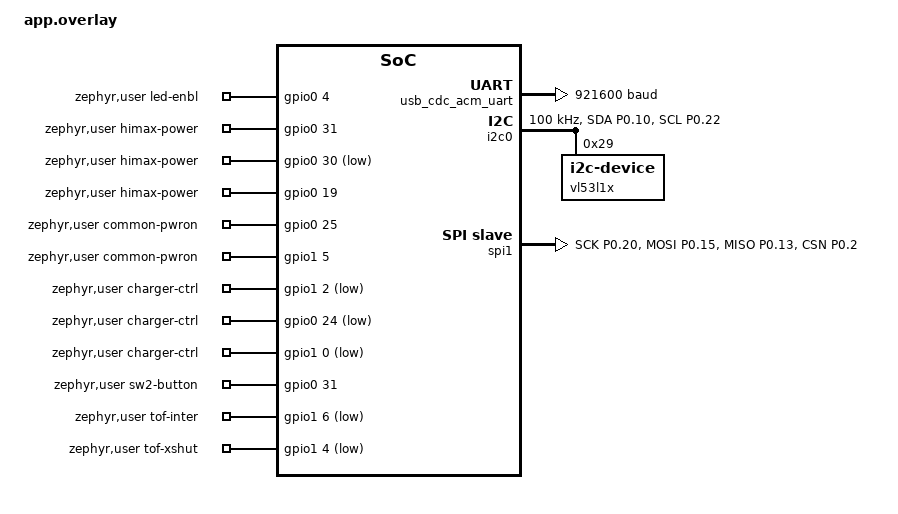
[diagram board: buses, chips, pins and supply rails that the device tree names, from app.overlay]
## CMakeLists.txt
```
cmake_minimum_required(VERSION 3.20.0)

add_definitions(-DNRF_SDK_BUILD)

list(APPEND BOARD_ROOT ${CMAKE_CURRENT_SOURCE_DIR})

set(CONF_FILE prj.conf)
set(DTC_OVERLAY_FILE app.overlay)

find_package(Zephyr REQUIRED HINTS $ENV{ZEPHYR_BASE})
project(yolo_example)

######################### You should to choose appropriate scenario here #########################
#########################       (refer to readme.md file for details)    #########################
## Scenario 1 - external TFT Display is used,nRF does nothing
## Scenario 2 - external TFT display is used, nRF turns on Himax when the TOF sensor is triggered
## Scenario 3 - a smartfon with Bluetooth connection is used,Himax sends data to nRF
add_compile_definitions(APPL_SCENARIO=3)
###################################################################################################

target_include_directories(app PRIVATE
  src/
  src/obj_lists/
  src/cmd_dec/
  src/hm_ctrl
  src/pm_ctrl
  src/tof_sens
)

target_sources(app PRIVATE
  src/obj_lists/objects_validator.c
  src/obj_lists/list_expected_objects.c
  src/obj_lists/list_recognized_objects.c
  src/obj_lists/time_conv.c
  src/obj_lists/crc_proc.c
  src/cmd_dec/common_cmd.c
  src/cmd_dec/himax_cmd.c
  src/cmd_dec/list_expct_obj_cmd.c
  src/cmd_dec/list_recg_obj_cmd.c
  src/cmd_dec/date_time_cmd.c
  src/cmd_dec/tof_sensor_cmd.c
  src/cmd_dec/image_read_cmd.c
  src/cmd_dec/command_decoder.c
  src/hm_ctrl/himax_control.c
  src/hm_ctrl/himax_spi.c
  src/hm_ctrl/himax_spi_data_proc.c
  src/pm_ctrl/pwr_ctrl.c
  src/pm_ctrl/sys_reset.c
  src/tof_sens/tof_sensor_core.c
  src/tof_sens/tof_sensor_results.c
  src/amode_proc.c
  src/detect_handler.c
  src/bt_proc.c
  src/leds_ctrl.c
  src/image_proc.c
  src/acm_uart.c
  src/version.c
  src/main.c
)

zephyr_library_include_directories(.)

set(VL53L1CB_PLAT_DIR ./drivers/VL53L1CB/platform)
set(VL53L1CB_CORE_DIR ./drivers/VL53L1CB/core)

target_include_directories(app PRIVATE 
  ${VL53L1CB_PLAT_DIR}/inc
  ${VL53L1CB_CORE_DIR}/inc
)

target_sources(app PRIVATE
  ${VL53L1CB_PLAT_DIR}/src/vl53l1_platform.c
  ${VL53L1CB_PLAT_DIR}/src/vl53l1_platform_ipp.c
  ${VL53L1CB_CORE_DIR}/src/vl53l1_api.c
  ${VL53L1CB_CORE_DIR}/src/vl53l1_api_calibration.c
  ${VL53L1CB_CORE_DIR}/src/vl53l1_api_core.c
  ${VL53L1CB_CORE_DIR}/src/vl53l1_api_debug.c
  ${VL53L1CB_CORE_DIR}/src/vl53l1_api_preset_modes.c
  ${VL53L1CB_CORE_DIR}/src/vl53l1_api_strings.c
  ${VL53L1CB_CORE_DIR}/src/vl53l1_core.c
  ${VL53L1CB_CORE_DIR}/src/vl53l1_core_support.c
  ${VL53L1CB_CORE_DIR}/src/vl53l1_dmax.c
  ${VL53L1CB_CORE_DIR}/src/vl53l1_error_strings.c
  ${VL53L1CB_CORE_DIR}/src/vl53l1_hist_algos_gen3.c
  ${VL53L1CB_CORE_DIR}/src/vl53l1_hist_algos_gen4.c
  ${VL53L1CB_CORE_DIR}/src/vl53l1_hist_char.c
  ${VL53L1CB_CORE_DIR}/src/vl53l1_hist_core.c
  ${VL53L1CB_CORE_DIR}/src/vl53l1_hist_funcs.c
  ${VL53L1CB_CORE_DIR}/src/vl53l1_nvm.c
  ${VL53L1CB_CORE_DIR}/src/vl53l1_nvm_debug.c
  ${VL53L1CB_CORE_DIR}/src/vl53l1_register_funcs.c
  ${VL53L1CB_CORE_DIR}/src/vl53l1_sigma_estimate.c
  ${VL53L1CB_CORE_DIR}/src/vl53l1_silicon_core.c
  ${VL53L1CB_CORE_DIR}/src/vl53l1_wait.c
  ${VL53L1CB_CORE_DIR}/src/vl53l1_xtalk.c
  ${VL53L1CB_CORE_DIR}/src/vl53l1_zone_presets.c
)
```

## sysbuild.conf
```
# SPDX-License-Identifier: Apache-2.0

# Add MCUboot
SB_CONFIG_BOOTLOADER_MCUBOOT=y
# Set MCUboot mode of operations to single application slot
SB_CONFIG_MCUBOOT_MODE_SINGLE_APP=y
```

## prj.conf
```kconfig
#
# SPDX-License-Identifier: Apache-2.0
#

CONFIG_UART_ASYNC_API=y
CONFIG_HEAP_MEM_POOL_SIZE=4096

CONFIG_BT=y
CONFIG_BT_PERIPHERAL=y
CONFIG_BT_DEVICE_NAME="GrcAllCam"
CONFIG_BT_MAX_CONN=1
CONFIG_BT_MAX_PAIRED=1

CONFIG_BT_NUS=y
CONFIG_BT_SETTINGS=y
CONFIG_FLASH=y
CONFIG_FLASH_PAGE_LAYOUT=y
CONFIG_FLASH_MAP=y
CONFIG_NVS=y
CONFIG_SETTINGS=y

CONFIG_MAIN_STACK_SIZE=1152
CONFIG_SYSTEM_WORKQUEUE_STACK_SIZE=2048

CONFIG_LOG=y
CONFIG_LOG_BUFFER_SIZE=2048
CONFIG_ASSERT=y

CONFIG_BT_USER_DATA_LEN_UPDATE=y
CONFIG_BT_L2CAP_TX_MTU=247
CONFIG_BT_BUF_ACL_TX_SIZE=251
CONFIG_BT_BUF_ACL_RX_SIZE=251
CONFIG_POSIX_CLOCK=y

CONFIG_DATE_TIME_NTP=n
CONFIG_DATE_TIME=y
CONFIG_SPI=y
CONFIG_SPI_SLAVE=y
CONFIG_SPI_ASYNC=y

CONFIG_EVENTS=y

CONFIG_USB_DEVICE_STACK=y

CONFIG_I2C=y
CONFIG_SENSOR=y
CONFIG_VL53L1X=n
CONFIG_LSM6DSL=n

CONFIG_POWEROFF=y
CONFIG_REBOOT=y
CONFIG_BT_SMP=y

CONFIG_LED_STRIP=y
CONFIG_BOOTLOADER_MCUBOOT=y
```

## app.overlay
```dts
/*
 * Copyright (c) 2025 Grovety Inc
 *
 * SPDX-License-Identifier: Apache-2.0
 */

&zephyr_udc0 {
	usb_cdc_acm_uart: cdc_acm_uart {
		compatible = "zephyr,cdc-acm-uart";
		current-speed = <921600>;
	};
};

&spi0 {
	status = "disabled";
};

&pinctrl {
	i2c_tof_default: i2c_tof_default {
		group1 {
			psels = <NRF_PSEL(TWIM_SDA, 0, 10)>, // P0.10
					<NRF_PSEL(TWIM_SCL, 0, 22)>; // P0.22
		};
	};
	i2c_tof_sleep: i2c_tof_sleep {
		group1 {
			psels = <NRF_PSEL(TWIM_SDA, 0, 10)>, // P0.10
					<NRF_PSEL(TWIM_SCL, 0, 22)>; // P0.22
			low-power-enable;
		};
	};
};

&i2c0 {
	compatible = "nordic,nrf-twim";
	status = "okay";
	clock-frequency = <I2C_BITRATE_STANDARD>;
	zephyr,concat-buf-size = <1024>;
	pinctrl-0 = <&i2c_tof_default>;
	pinctrl-1 = <&i2c_tof_sleep>;
	pinctrl-names = "default", "sleep";
	vl53l1x: vl53l1x@29 {
		compatible = "i2c-device";
		status = "okay";
		reg = <0x29>;
	};
};

&pinctrl {
	spi1_default: spi1_default {
		group1 {
			psels = <NRF_PSEL(SPIS_SCK, 0, 20)>,	// P0.20 - SPI_CLK(PB8)
					<NRF_PSEL(SPIS_MOSI, 0, 15)>,	// P0.15 - SPI_DO(PB7)
					<NRF_PSEL(SPIS_MISO, 0, 13)>,	// P0.13 - SPI_DI(PB6)
					<NRF_PSEL(SPIS_CSN, 0, 2)>;		// P0.02 - SEN_CSW0
		};
	};
	spi1_sleep: spi1_sleep {
		group1 {
			psels = <NRF_PSEL(SPIS_SCK, 0, 20)>,
					<NRF_PSEL(SPIS_MOSI, 0, 15)>,
					<NRF_PSEL(SPIS_MISO, 0, 13)>,
					<NRF_PSEL(SPIS_CSN, 0, 2)>;
			low-power-enable;
		};
	};
};

&spi1 {
	compatible = "nordic,nrf-spis";
	def-char = <0xFF>;
	status = "okay";
	pinctrl-0 = <&spi1_default>;
	pinctrl-1 = <&spi1_default>;
	pinctrl-names = "default", "sleep";
};

/ {
	zephyr,user {
		led-enbl-gpios = <&gpio0 4 GPIO_ACTIVE_HIGH>;			// P0.04 - rgb led enable
		himax-power-gpios = <&gpio0 31 GPIO_ACTIVE_HIGH>,		// Wakeup,PA1 Himax,open drain
					        <&gpio0 30 GPIO_ACTIVE_LOW>,		// nReset,no connected
		                    <&gpio0 19 GPIO_ACTIVE_HIGH>; 		// Power on, switch
		common-pwron-gpios = <&gpio0 25 GPIO_ACTIVE_HIGH>,		// U10,3v3,active high
							 <&gpio1 5 GPIO_ACTIVE_HIGH>;		// U12,1v8,active high
		charger-ctrl-gpios = <&gpio1 2 GPIO_ACTIVE_LOW>,		// P1.02 - BQCE,low level enable charger
							 <&gpio0 24 GPIO_ACTIVE_LOW>,		// P0.24 - BQCHG,low level when battery is charging
							 <&gpio1 0 GPIO_ACTIVE_LOW>;		// P1.0 - BQPGOOD,low level when input source is valid
		sw2-button-gpios = <&gpio0 31 GPIO_ACTIVE_HIGH>;		// P0.31 - SW2 button
		tof-inter-gpios = <&gpio1 6 GPIO_ACTIVE_LOW>;			// P1.06
		tof-xshut-gpios = <&gpio1 4 GPIO_ACTIVE_LOW>;			// P1.04
	};
};

/ {
	aliases {
		wake-up-pins-gpios = &gpio1;
	};
};

/ {
	chosen {
		zephyr,console = &uart1;
		cmd,uart = &usb_cdc_acm_uart;
		himax,spi = &spi1;
		tof,vl53l1x = &vl53l1x;
		led,strip = &led_strip;
	};
};
```

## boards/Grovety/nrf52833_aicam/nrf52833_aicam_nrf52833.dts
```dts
/*
 * Copyright (c) 2025 Grovety Inc
 *
 * SPDX-License-Identifier: Apache-2.0
 */

/dts-v1/;
#include <nordic/nrf52833_qiaa.dtsi>
#include <zephyr/dt-bindings/input/input-event-codes.h>

/ {
	model = "Grovety NRF52833 AICAM NRF52833";
	compatible = "nordic,nrf52833-dk-nrf52833";

	chosen {
		zephyr,sram = &sram0;
		zephyr,flash = &flash0_mcuboot;
		zephyr,code-partition = &slot0_partition;
	};
};

&reg1 {
	regulator-initial-mode = <NRF5X_REG_MODE_DCDC>;
};

&adc {
	status = "disabled";
};

&uicr {
	status = "disabled";
};

&gpiote {
	status = "okay";
};

&gpio0 {
	status = "okay";
};

&gpio1 {
	status = "okay";
};

&uart0 {
	status = "disabled";
};

&pinctrl {
	uart1_default: uart1_default {
		group1 {
			psels = <NRF_PSEL(UART_TX, 1, 1)>,
			        <NRF_PSEL(UART_RX, 0, 9)>;
		bias-pull-up;
	  };
	};
	uart1_sleep: uart1_sleep {
	  	group1 {
			psels = <NRF_PSEL(UART_TX, 1, 1)>,
			        <NRF_PSEL(UART_RX, 0, 9)>;
		low-power-enable;
	  	};
	};
};

&uart1 {
	status = "okay";
	current-speed = <115200>;
	pinctrl-0 = <&uart1_default>;
	pinctrl-1 = <&uart1_sleep>;
	pinctrl-names = "default", "sleep";
};

&i2c0 {
	compatible = "nordic,nrf-twi";
	status = "disabled";
};

&i2c1 {
	status = "disabled";
};

&pwm0 {
	status = "disabled";
};

&spi0 {
	status = "disabled";
};

&spi1 {
	status = "disabled";
};

&spi2 {
	status = "disabled";
};

/*flash0_default: &flash0 {
	partitions {
		compatible = "fixed-partitions";
		#address-cells = <1>;
		#size-cells = <1>;

		boot_partition: partition@0 {
			label = "mcuboot";
			reg = <0x00000000 0xC000>;
		};
		slot0_partition: partition@c000 {
			label = "image-0";
			reg = <0x0000C000 0x37000>;
		};
		slot1_partition: partition@43000 {
			label = "image-1";
			reg = <0x00043000 0x37000>;
		};
		storage_partition: partition@7a000 {
			label = "storage";
			reg = <0x0007A000 0x00006000>;
		};
	};
};*/

flash0_mcuboot: &flash0 {
	partitions {
		compatible = "fixed-partitions";
		#address-cells = <1>;
		#size-cells = <1>;

		boot_partition: partition@0 {
			label = "mcuboot";
			reg = <0x00000000 0x10000>;
		};
		slot0_partition: partition@10000 {
			label = "image-0";
			reg = <0x00010000 0x6A000>;
		};
		storage_partition: partition@7a000 {
			label = "storage";
			reg = <0x0007A000 0x00006000>;
		};
	};
};

zephyr_udc0: &usbd {
	compatible = "nordic,nrf-usbd";
	status = "okay";
};

&pinctrl {
	spi2_default: spi2_default {
		group1 {
			psels = <NRF_PSEL(SPIM_SCK, 0, 23)>, 		// dummy
					<NRF_PSEL(SPIM_MOSI, 0, 29)>, 		// stripe
					<NRF_PSEL(SPIM_MISO, 0, 28)>; 		// dummy

		};
	};
	spi2_sleep: spi2_sleep {
		group1 {
			psels = <NRF_PSEL(SPIM_SCK, 0, 23)>,
					<NRF_PSEL(SPIM_MOSI, 0, 29)>,
					<NRF_PSEL(SPIM_MISO, 0, 28)>;
			low-power-enable;
		};
	};
};

#include <zephyr/dt-bindings/led/led.h>

#define SPI_FREQ    4000000
#define ONE_FRAME   0x70
#define ZERO_FRAME  0x40

&spi2 {
	compatible = "nordic,nrf-spim";
	status = "okay";
	pinctrl-0 = <&spi2_default>;
	pinctrl-1 = <&spi2_sleep>;
	pinctrl-names = "default", "sleep";
	led_strip: ws2812@0 {
		compatible = "worldsemi,ws2812-spi";
		/* SPI */
		reg = <0>; /* ignored, but necessary for SPI bindings */
		spi-max-frequency = <SPI_FREQ>;
		/* WS2812 */
		chain-length = <1>; /* arbitrary; change at will */
		color-mapping = <LED_COLOR_ID_GREEN LED_COLOR_ID_RED LED_COLOR_ID_BLUE>;
		spi-one-frame = <ONE_FRAME>;
		spi-zero-frame = <ZERO_FRAME>;
	};
};
```

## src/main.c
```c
/*
 * Copyright (c) 2025 Grovety Inc
 *
 * SPDX-License-Identifier: Apache-2.0
 */

#include <zephyr/types.h>
#include <zephyr/kernel.h>
#include <zephyr/drivers/uart.h>
#include <zephyr/usb/usb_device.h>

#include <zephyr/device.h>
#include <zephyr/devicetree.h>
#include <soc.h>

#include <zephyr/bluetooth/bluetooth.h>
#include <zephyr/bluetooth/uuid.h>
#include <zephyr/bluetooth/gatt.h>
#include <zephyr/bluetooth/hci.h>

#include <bluetooth/services/nus.h>

#include <zephyr/settings/settings.h>
#include <zephyr/logging/log.h>

#include <stdio.h>

#include "amode_proc.h"
#include "leds_ctrl.h"
#include "acm_uart.h"
#include "himax_spi.h"
#include "himax_control.h"
#include "tof_sensor_core.h"
#include "pwr_ctrl.h"
#include "bt_proc.h"
#include "image_proc.h"

#include "version.h"
#include "lists_common_defs.h"
#include "list_expected_objects.h"
#include "list_recognized_objects.h"
#include "command_decoder.h"
#include "himax_spi_data_proc.h"
#include "time_conv.h"

#define LOG_MODULE_NAME objdet_main
LOG_MODULE_REGISTER(LOG_MODULE_NAME);

static void error_handler(int err)
{
	LOG_INF("Error %d", err);
	led_blue_ctrl(20);
	while (1) {
		led_red_ctrl(LED_ON);
		k_sleep(K_MSEC(100));
		led_red_ctrl(LED_OFF);
		k_sleep(K_MSEC(100));
	}
}

void scenario1_init()
{ // only turn on Himax power
	pm_ctrl_init();

	leds_init();

	himax_ctrl_init();

	himax_pwrctl(true);

	led_green_ctrl(50);
}

void scenario2_init()
{ // tof sensor is involved
	int err;

	pm_ctrl_init();

	leds_init();

	himax_ctrl_init();

	err = tof_sensor_init(false);
	if (err) {
		error_handler(err);
	}

	err = amode_proc_init();
	if (err) {
		error_handler(err);
	}

	led_green_ctrl(3);
}

void scenario3_init()
{ // all functional capabilities are involved
	int err;

	pm_ctrl_init();

	leds_init();

	init_time();

	list_expct_objects_init(NULL);
	list_recg_objects_init(NULL);

	err = himax_ctrl_init();
	if (err) {
		error_handler(err);
	}

	err = himax_spis_init(himax_spi_data_proc);
	if (err) {
		error_handler(err);
	}

	command_decoder_init(amode_timer_cmd_recv_notify);

	image_reader_init(amode_image_read_notify);

	err = usb_enable(NULL);
	if (err) {
		error_handler(err);
	}

	err = tof_sensor_init(false);
	if (err) {
		error_handler(err);
	}

	err = amode_proc_init();
	if (err) {
		error_handler(err);
	}

	err = acm_uart_init(command_decoder_run);
	if (err) {
		error_handler(err);
	}

	err = bt_init(command_decoder_run);
	if (err) {
		error_handler(err);
	}
}

int main()
{
#if APPL_SCENARIO == 1
	scenario1_init();
#elif APPL_SCENARIO == 2
	scenario2_init();
#elif APPL_SCENARIO == 3
	scenario3_init();
#else
	#error Scenario must be defined!
#endif
	k_sleep(K_FOREVER);
}
```

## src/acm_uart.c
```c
/*
 * Copyright (c) 2025 Grovety Inc
 *
 * SPDX-License-Identifier: Apache-2.0
 */

#include <zephyr/types.h>
#include <zephyr/kernel.h>
#include <zephyr/init.h>
#include <zephyr/logging/log.h>
#include <zephyr/drivers/uart.h>
#include <zephyr/usb/usb_device.h>

#include "acm_uart.h"
#include "lists_common_defs.h"

#define LOG_MODULE_NAME acm_uart
LOG_MODULE_REGISTER(LOG_MODULE_NAME);

#define ACM_UART_THREAD_STACKSIZE 1024
#define ACM_UART_THREAD_PRIORITY 4

static uart_data_proc_t uart_data_proc;

static void uart_data_handler_thread_proc();

static K_THREAD_DEFINE( uart_data_handler_thread_id, ACM_UART_THREAD_STACKSIZE,  uart_data_handler_thread_proc, NULL, NULL, NULL,
	ACM_UART_THREAD_PRIORITY, 0, 0);
static K_EVENT_DEFINE(rx_ready_event);
static K_EVENT_DEFINE(tx_ready_event);

static const struct device *uart_device = DEVICE_DT_GET(DT_CHOSEN(cmd_uart));

static uart_ctx_t uart_ctx;

static void direct_uart_callback(const struct device *uart_device, void *user_data)
{
	uart_ctx_t* p_uart_ctx = (uart_ctx_t*)user_data;

	uart_irq_update(uart_device);

	if (uart_irq_tx_ready(uart_device)) {
		int nwr = uart_ctx.to_write - uart_ctx.is_written;
		uint8_t* pwr = uart_ctx.tx_buf + uart_ctx.is_written;
		uart_ctx.is_written += uart_fifo_fill(uart_device, pwr, nwr);
		if (uart_ctx.to_write == uart_ctx.is_written) {
			uart_irq_tx_disable(uart_device);
			k_event_set(&tx_ready_event, 1);
		}
	}

	if (uart_irq_rx_ready(uart_device)) {
		uint8_t rx_char = 0;
		while (uart_fifo_read(uart_device, &rx_char, 1)) {
			p_uart_ctx->rx_buf[p_uart_ctx->is_read] = rx_char;
			p_uart_ctx->is_read = (p_uart_ctx->is_read + 1) % SR_OUT_BUF_SIZE;
			if (rx_char == '\n') {
				k_event_set(&rx_ready_event, 1);
				break;
			}
		}
	}
}

void  uart_data_handler_thread_proc()
{
	while (1)
	{
		if (k_event_wait(&rx_ready_event, 1, false, K_FOREVER))
		{
			uart_ctx.rx_buf[uart_ctx.is_read] = 0;
			// LOG_HEXDUMP_INF(uart_ctx.rx_buf, 8, "Rx:");
			uart_ctx.to_write = uart_data_proc(USBUART_INTERFACE, uart_ctx.rx_buf, uart_ctx.is_read, uart_ctx.tx_buf, SR_OUT_BUF_SIZE);
			// LOG_HEXDUMP_INF(uart_ctx.tx_buf, 8, "Tx:");
			uart_ctx.is_read = 0;
			k_event_clear(&rx_ready_event, 1);
			k_event_clear(&tx_ready_event, 1);
			if (uart_ctx.to_write > 0) {
				uart_ctx.is_written = 0;
				uart_irq_tx_enable(uart_device);
				k_event_wait(&tx_ready_event, 1, false, K_FOREVER);
			}
		}
	}
}

int acm_uart_init(uart_data_proc_t proc)
{
	if (!device_is_ready(uart_device)) {
		return -1;
	}
	if (!proc) {
		return -2;
	}
	uart_data_proc = proc;
	uart_irq_rx_disable(uart_device);
	int err = uart_irq_callback_user_data_set(uart_device, direct_uart_callback, &uart_ctx);
	if (err) {
		return err;
	}
	uart_irq_rx_enable(uart_device);
    return 0;
}
```

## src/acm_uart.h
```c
/*
 * Copyright (c) 2025 Grovety Inc
 *
 * SPDX-License-Identifier: Apache-2.0
 */

#ifndef ACM_UART_H
#define ACM_UART_H

#include "bt_proc.h"
#include "command_decoder.h"

#define SR_OUT_BUF_SIZE BT_OUT_BUF_SIZE

typedef struct {
    int is_read;
    uint8_t rx_buf[SR_OUT_BUF_SIZE];
    int to_write;
    int is_written;
    uint8_t tx_buf[SR_OUT_BUF_SIZE];
    bool is_command;
} uart_ctx_t;

typedef int (*uart_data_proc_t)(int if_num, const char* inp_buf, int inp_len, char* out_buf, int out_buf_size);

int acm_uart_init(uart_data_proc_t uart_data_proc);

#endif // ACM_UART_H
```

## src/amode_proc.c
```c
/*
 * Copyright (c) 2025 Grovety Inc
 *
 * SPDX-License-Identifier: Apache-2.0
 */

#include "amode_proc.h"
#include "himax_control.h"
#include "tof_sensor_core.h"
#include "leds_ctrl.h"
#include "pwr_ctrl.h"
#include "detect_handler.h"
#include "mutex_wrapper.h"

#define LOG_MODULE_NAME amode_proc
LOG_MODULE_REGISTER(LOG_MODULE_NAME);

static void amode_timer_handler(struct k_timer *dummy);
static void amode_timer_work_proc(struct k_work *work);

static K_TIMER_DEFINE(amode_timer, amode_timer_handler, NULL);
static K_WORK_DEFINE(amode_timer_work, amode_timer_work_proc);

#define AMODE_THREAD_STACKSIZE 1024
#define AMODE_THREAD_PRIORITY 7

static void amode_thread_proc();

static K_THREAD_DEFINE(amode_thread_id, AMODE_THREAD_STACKSIZE, amode_thread_proc, NULL, NULL, NULL, AMODE_THREAD_PRIORITY, 0, 0);
static K_EVENT_DEFINE(amode_rcgn_start_event);
static K_EVENT_DEFINE(amode_rcgn_finish_event);

K_MUTEX_DEF(amode_setup_mutex)

int amode_proc_init()
{
	K_MUTEX_INIT(amode_setup_mutex)
	return 0;
}

static void amode_setup_for_image_read()
{
	K_MUTEX_LOCK(amode_setup_mutex)
	// LOG_INF("amode_setup_for_image_read %d");
    tof_sensor_set_auto_mode(TOF_MODE_MEAS_DISTANCE_TIMER);
    himax_set_mode(HIMAX_MODE_CONT_WORK, HIMAX_ADV_READ_IMAGE);
	K_MUTEX_UNLOCK(amode_setup_mutex)
}

static void amode_setup_for_recognition()
{
	K_MUTEX_LOCK(amode_setup_mutex)
	// LOG_INF("amode_setup_for_recognition");
	tof_sensor_set_auto_mode(TOF_MODE_DISABLED_WHILE_RECOGN);
	himax_set_mode(HIMAX_MODE_CONT_WORK, HIMAX_ADV_DO_NOTHING);
	K_MUTEX_UNLOCK(amode_setup_mutex)
}

static void amode_setup_for_not_target_waiting()
{
	K_MUTEX_LOCK(amode_setup_mutex)
	himax_set_mode(HIMAX_POFF_MODE, HIMAX_ADV_DO_NOTHING);
	tof_sensor_set_auto_mode(TOF_MODE_AUTO_WAIT_DISAPPERANCE);
	K_MUTEX_UNLOCK(amode_setup_mutex)
}

static void amode_setup_for_is_target_waiting(bool himax_ctrl)
{
	K_MUTEX_LOCK(amode_setup_mutex)
	if (himax_ctrl)
		himax_set_mode(HIMAX_POFF_MODE, HIMAX_ADV_DO_NOTHING);
	tof_sensor_set_auto_mode(TOF_MODE_AUTO_WAIT_FOR_OBJECTS);
	K_MUTEX_UNLOCK(amode_setup_mutex)
}

void amode_image_read_notify(bool start)
{
	k_event_set(&amode_rcgn_start_event, start ? 2 : 4);
}

static unsigned asleep_cntr;

void amode_timer_cmd_recv_notify()
{
	K_MUTEX_LOCK(amode_setup_mutex)
	asleep_cntr = AUTO_MODE_TIMER_ASLEEP_PERIOD_SEC;
	k_timer_start(&amode_timer, K_MSEC(1000), K_MSEC(1000));
	K_MUTEX_UNLOCK(amode_setup_mutex)
}

static void amode_timer_handler(struct k_timer *dummy)
{
	k_work_submit(&amode_timer_work);
}

static void amode_timer_work_proc(struct k_work *work)
{
	K_MUTEX_LOCK(amode_setup_mutex)
	if (asleep_cntr == 1) {
		// LOG_INF("!!!asleep_cntr %d", asleep_cntr);
		k_event_post(&amode_rcgn_start_event, 8);
	}
	if (asleep_cntr > 0) {		
		asleep_cntr -= 1;
	}
	//> LOG_INF("asleep_cntr %d,pwroff_cntr %d", asleep_cntr, pwroff_cntr);
	if (asleep_cntr == 0) {
		k_timer_stop(&amode_timer);
	}
	K_MUTEX_UNLOCK(amode_setup_mutex)
}

void amode_do_recognize()
{
    k_event_set(&amode_rcgn_start_event, 1);
}

static atomic_t recgn_dummy_iter = ATOMIC_INIT(AMODE_MAX_RCGN_DUMMY_ITER);
static atomic_t recgn_found_iter = ATOMIC_INIT(0);

void amode_recognize_results_update(bool found, bool permission)
{
    if (atomic_get(&recgn_dummy_iter) < AMODE_MAX_RCGN_DUMMY_ITER)
    {
        atomic_inc(&recgn_dummy_iter);

        if (permission) {
            atomic_set(&recgn_dummy_iter, AMODE_MAX_RCGN_DUMMY_ITER);
			k_event_set(&amode_rcgn_finish_event, 1);
            detect_handler();
        }
        else {
            if (found) {
                if (atomic_get(&recgn_found_iter) < AMODE_MAX_RCGN_FOUND_ITER) {
                    atomic_inc(&recgn_found_iter);
                }
                else {
                    atomic_set(&recgn_dummy_iter, AMODE_MAX_RCGN_DUMMY_ITER);
					k_event_set(&amode_rcgn_finish_event, 2);
                }
            }
        }
    }
	if (atomic_get(&recgn_dummy_iter) >= AMODE_MAX_RCGN_DUMMY_ITER) {
		k_event_set(&amode_rcgn_finish_event, 4);
	}
	//if (k_event_test(&amode_rcgn_finish_event, 7)) {
    //	LOG_INF("(%d,%d): %ld,%ld", found, permission, atomic_get(&recgn_dummy_iter), atomic_get(&recgn_found_iter));
	//}
}

static void gbox_rcgn_proc()
{
	atomic_set(&recgn_found_iter, 0);
	atomic_set(&recgn_dummy_iter, 0);
	amode_setup_for_recognition();
#if APPL_SCENARIO == 3
	if (k_event_wait(&amode_rcgn_finish_event, 0x07, true, K_MSEC(AMODE_RECGN_TOUT_MSEC)) == 0) {
		LOG_ERR("Recognition timeout");
	}
#elif APPL_SCENARIO == 2
	k_sleep(K_MSEC(5000));
#endif
}

static void amode_thread_proc()
{
	typedef enum {WAIT_FOR_RCGN = 0, WAIT_FOR_DISA, READ_JPG_PICT} amode_state_t;
	amode_state_t state = WAIT_FOR_RCGN;
	uint32_t event;

    while (1)
    {
		k_timeout_t tout = state == WAIT_FOR_DISA ? K_MSEC(1000) : K_FOREVER;
		event = k_event_wait(&amode_rcgn_start_event, 0xf, false, tout);

		// LOG_INF("state %d, event %08x", state, event);

		if (event & 2) {
			k_event_clear(&amode_rcgn_start_event, 0xf);
			amode_setup_for_image_read();
			state = READ_JPG_PICT;
		}
		else if (event & 8) {
			if (state == READ_JPG_PICT) {
				k_event_clear(&amode_rcgn_start_event, 8);
				amode_setup_for_is_target_waiting(true);
				state = WAIT_FOR_RCGN;
			}
		}

		if (state == WAIT_FOR_RCGN) {
			if (event & 1) {
				k_event_clear(&amode_rcgn_start_event, 1);
				gbox_rcgn_proc();
				amode_setup_for_not_target_waiting();
				state = WAIT_FOR_DISA;
			}
		}
		else if (state == WAIT_FOR_DISA) {
			if (event == 0) {
				amode_setup_for_is_target_waiting(false);
				state = WAIT_FOR_RCGN;
			}
			else if (event & 1) {
// #define STRESS_TEST
#ifdef STRESS_TEST
				static unsigned cnt = 0;
				if (++cnt >= 5) {
					cnt = 0;
					k_event_clear(&amode_rcgn_start_event, 1);
					amode_setup_for_is_target_waiting(false);
					state = WAIT_FOR_RCGN;
				}
				else
#endif // STRESS_TEST
				{
					k_event_clear(&amode_rcgn_start_event, 1);
					amode_setup_for_not_target_waiting();
				}
			}
		}
	}
}
```

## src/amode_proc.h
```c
/*
 * Copyright (c) 2025 Grovety Inc
 *
 * SPDX-License-Identifier: Apache-2.0
 */

#ifndef AMODE_PROC_H
#define AMODE_PROC_H

#include <zephyr/kernel.h>
#include <zephyr/init.h>
#include <zephyr/logging/log.h>
#include <nrfx_timer.h>

#define AMODE_MAX_RCGN_DUMMY_ITER 5
#define AMODE_MAX_RCGN_FOUND_ITER 3
#define AMODE_RECGN_TOUT_MSEC 3000

#define AUTO_MODE_NRF_SYS_PWR_OFF
#define AUTO_MODE_TIMER_ASLEEP_PERIOD_SEC 8
#define AUTO_MODE_TIMER_PWROFF_PERIOD_SEC 8

int amode_proc_init();

void amode_timer_cmd_recv_notify();

void amode_image_read_notify(bool start);

void amode_recognize_results_update(bool found, bool permission);

void amode_do_recognize();

#endif // AMODE_PROC_H
```

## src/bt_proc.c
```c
/*
 * Copyright (c) 2025 Grovety Inc
 *
 * SPDX-License-Identifier: Apache-2.0
 */

#include "bt_proc.h"

#include <zephyr/types.h>
#include <zephyr/kernel.h>
#include <zephyr/drivers/uart.h>
#include <zephyr/usb/usb_device.h>

#include <zephyr/device.h>
#include <zephyr/devicetree.h>
#include <soc.h>

#include <zephyr/bluetooth/bluetooth.h>
#include <zephyr/bluetooth/uuid.h>
#include <zephyr/bluetooth/gatt.h>
#include <zephyr/bluetooth/hci.h>
#include <zephyr/settings/settings.h>
#include <zephyr/logging/log.h>
#include <bluetooth/services/nus.h>

#include "lists_common_defs.h"
#include "himax_control.h"

#define LOG_MODULE_NAME bt_proc
LOG_MODULE_REGISTER(LOG_MODULE_NAME);

#define DEVICE_NAME CONFIG_BT_DEVICE_NAME
#define DEVICE_NAME_LEN	(sizeof(DEVICE_NAME) - 1)

static struct bt_conn *current_conn;
static struct bt_conn *auth_conn;

struct k_mutex send_mutex;
static bt_data_proc_t bt_data_proc;

static const struct bt_data ad[] = {
	BT_DATA_BYTES(BT_DATA_FLAGS, (BT_LE_AD_GENERAL | BT_LE_AD_NO_BREDR)),
	BT_DATA(BT_DATA_NAME_COMPLETE, DEVICE_NAME, DEVICE_NAME_LEN),
};

static const struct bt_data sd[] = {
	BT_DATA_BYTES(BT_DATA_UUID128_ALL, BT_UUID_NUS_VAL),
};

static void connected(struct bt_conn *conn, uint8_t err)
{
	char addr[BT_ADDR_LE_STR_LEN];

	if (err) {
		LOG_ERR("Connection failed (err %u)", err);
		return;
	}

	bt_addr_le_to_str(bt_conn_get_dst(conn), addr, sizeof(addr));
	LOG_INF("Connected %s", addr);

	current_conn = bt_conn_ref(conn);
}

static void disconnected(struct bt_conn *conn, uint8_t reason)
{
	char addr[BT_ADDR_LE_STR_LEN];

	bt_addr_le_to_str(bt_conn_get_dst(conn), addr, sizeof(addr));

	LOG_INF("Disconnected: %s (reason %u)", addr, reason);

	if (auth_conn) {
		bt_conn_unref(auth_conn);
		auth_conn = NULL;
	}

	if (current_conn) {
		bt_conn_unref(current_conn);
		current_conn = NULL;
	}
}

static void security_changed(struct bt_conn *conn, bt_security_t level,
			     enum bt_security_err err)
{
	char addr[BT_ADDR_LE_STR_LEN];

	bt_addr_le_to_str(bt_conn_get_dst(conn), addr, sizeof(addr));

	if (!err) {
		LOG_INF("Security changed: %s level %u", addr, level);
	} else {
		LOG_WRN("Security failed: %s level %u err %d", addr,
			level, err);
	}
}

BT_CONN_CB_DEFINE(conn_callbacks) = {
	.connected    = connected,
	.disconnected = disconnected,
	.security_changed = security_changed,
};

static void auth_passkey_display(struct bt_conn *conn, unsigned int passkey)
{
	char addr[BT_ADDR_LE_STR_LEN];

	bt_addr_le_to_str(bt_conn_get_dst(conn), addr, sizeof(addr));

	LOG_INF("Passkey for %s: %06u", addr, passkey);
}

static void auth_passkey_confirm(struct bt_conn *conn, unsigned int passkey)
{
	char addr[BT_ADDR_LE_STR_LEN];

	auth_conn = bt_conn_ref(conn);

	bt_addr_le_to_str(bt_conn_get_dst(conn), addr, sizeof(addr));

	// a simple authorization procedure can be added here..
	// LOG_INF("Passkey for %s: %06u", addr, passkey);
	// LOG_INF("Press Button to confirm");
	bt_conn_auth_passkey_confirm(auth_conn);
}

static void auth_cancel(struct bt_conn *conn)
{
	char addr[BT_ADDR_LE_STR_LEN];

	bt_addr_le_to_str(bt_conn_get_dst(conn), addr, sizeof(addr));

	//// LOG_INF("Pairing cancelled: %s", addr);
}

static void pairing_complete(struct bt_conn *conn, bool bonded)
{
	char addr[BT_ADDR_LE_STR_LEN];

	bt_addr_le_to_str(bt_conn_get_dst(conn), addr, sizeof(addr));

	//// LOG_INF("Pairing completed: %s, bonded: %d", addr, bonded);
}

static void pairing_failed(struct bt_conn *conn, enum bt_security_err reason)
{
	char addr[BT_ADDR_LE_STR_LEN];

	bt_addr_le_to_str(bt_conn_get_dst(conn), addr, sizeof(addr));

	//// LOG_INF("Pairing failed conn: %s, reason %d", addr, reason);
}

static struct bt_conn_auth_cb conn_auth_callbacks = {
	.passkey_display = auth_passkey_display,
	.passkey_confirm = auth_passkey_confirm,
	.cancel = auth_cancel,
};

static struct bt_conn_auth_info_cb conn_auth_info_callbacks = {
	.pairing_complete = pairing_complete,
	.pairing_failed = pairing_failed
};

static int bt_send_prot(struct bt_conn *conn, const uint8_t *data, uint16_t len)
{
	k_mutex_lock(&send_mutex, K_FOREVER);
	int err = bt_nus_send(conn, data, len);
	if (err) {
		LOG_ERR("bt_nus_send");
	}
	k_mutex_unlock(&send_mutex);
	return err;
}

static void bt_receive_cb(struct bt_conn *conn, const uint8_t *const inp_data,
			  uint16_t inp_len)
{
	int err = 0;
	char addr[BT_ADDR_LE_STR_LEN] = {0};

	bt_addr_le_to_str(bt_conn_get_dst(conn), addr, ARRAY_SIZE(addr));

	//// LOG_INF("Maximal MTU length %d", bt_gatt_get_mtu(conn));

	static uint8_t out_data [BT_OUT_BUF_SIZE];
	// LOG_HEXDUMP_INF(inp_data, 8, "Rx:");
	int out_len = bt_data_proc(BLUETOOTH_INTERFACE, inp_data, inp_len, out_data, BT_OUT_BUF_SIZE);
	// LOG_HEXDUMP_INF(out_data, 8, "Tx:");
	if (out_len > 0) {
		err = bt_send_prot(conn, out_data, out_len);
	}

	if (err) {
		LOG_ERR("Cannot send data (err: %d)", err);
	}
}

void bt_sent_cb(struct bt_conn *conn)
{
	char addr[BT_ADDR_LE_STR_LEN] = {0};

	bt_addr_le_to_str(bt_conn_get_dst(conn), addr, ARRAY_SIZE(addr));

	//// LOG_INF("Transmitted data sent to: %s", addr);
}

static struct bt_nus_cb nus_cb = {
	.received = bt_receive_cb,
	.sent = bt_sent_cb
};

int bt_init(bt_data_proc_t proc)
{
    int err;

    bt_data_proc = proc;

    err = bt_conn_auth_cb_register(&conn_auth_callbacks);
	if (err) {
		printk("Failed to register authorization callbacks.\n");
		return err;
	}

	err = bt_conn_auth_info_cb_register(&conn_auth_info_callbacks);
	if (err) {
		printk("Failed to register authorization info callbacks.\n");
		return err;
	}

	err = bt_enable(NULL);
	if (err) {
		printk("Bluetooth enable failed.\n");
		return err;
	}

	LOG_INF("Bluetooth initialized");

	if (IS_ENABLED(CONFIG_SETTINGS)) {
		settings_load();
	}

	err = bt_nus_init(&nus_cb);
	if (err) {
		LOG_ERR("Failed to initialize UART service (err: %d)", err);
		return err;
	}

	err = bt_le_adv_start(BT_LE_ADV_CONN, ad, ARRAY_SIZE(ad), sd,
			      ARRAY_SIZE(sd));
	if (err) {
		LOG_ERR("Advertising failed to start (err %d)", err);
		return err;
	}

    return 0;
}
```

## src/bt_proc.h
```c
/*
 * Copyright (c) 2025 Grovety Inc
 *
 * SPDX-License-Identifier: Apache-2.0
 */

#ifndef BT_PROC_H
#define BT_PROC_H

#define BT_OUT_BUF_SIZE (247-3) // set to MTU size

typedef int (*bt_data_proc_t)(int if_num, const char* inp_buf, int inp_len, char* out_buf, int out_buf_size);

int bt_init(bt_data_proc_t proc);

#endif // BT_PROC_H
```

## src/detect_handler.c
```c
/*
 * Copyright (c) 2025 Grovety Inc
 *
 * SPDX-License-Identifier: Apache-2.0
 */

#include <zephyr/types.h>
#include <zephyr/kernel.h>
#include <zephyr/logging/log.h>
#include <zephyr/drivers/gpio.h>

#include "detect_handler.h"
#include "leds_ctrl.h"

#define LOG_MODULE_NAME detect_handler
LOG_MODULE_REGISTER(LOG_MODULE_NAME);

#define DETECT_HANDLER_THREAD_STACKSIZE 512
#define DETECT_HANDLER_THREAD_PRIORITY 7

static void detect_handler_thread_proc();

static K_THREAD_DEFINE(detect_handler_thread_id, DETECT_HANDLER_THREAD_STACKSIZE, detect_handler_thread_proc, NULL, NULL, NULL,
		DETECT_HANDLER_THREAD_PRIORITY, 0, 0);
static K_EVENT_DEFINE(detect_handler_start_event);

static void detect_handler_thread_proc()
{
    while (1) {
        if (k_event_wait(&detect_handler_start_event, 1, true, K_FOREVER)) {
            LOG_INF("!!!! EXPECTED OBJECT DETECTED !!!!");
            for (unsigned i = 0; i < 10; i++) {
                led_green_ctrl((i & 1) ? LED_OFF : LED_ON);
                k_sleep(K_MSEC(300));
            }
        }
    }
}

void detect_handler()
{
    k_event_set(&detect_handler_start_event, 1);
}
```

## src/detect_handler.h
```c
/*
 * Copyright (c) 2025 Grovety Inc
 *
 * SPDX-License-Identifier: Apache-2.0
 */

#ifndef DETECT_HANDLER_H
#define DETECT_HANDLER_H

void detect_handler();

#endif // DETECT_HANDLER_H
```

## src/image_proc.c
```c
/*
 * Copyright (c) 2025 Grovety Inc
 *
 * SPDX-License-Identifier: Apache-2.0
 */

#include <zephyr/types.h>
#include <zephyr/kernel.h>
#include <zephyr/logging/log.h>

#include "himax_control.h"
#include "image_proc.h"

#define LOG_MODULE_NAME image_proc
LOG_MODULE_REGISTER(LOG_MODULE_NAME);

static struct {
    uint8_t data[IMAGE_MAX_SIZE];
    bool rd_busy;
    unsigned rd_cnt;
    unsigned wr_cnt;
} image_ctx = {{0}, false, 0, 0};

static struct k_event image_udate_event;

static image_control_proc_t image_control_proc;

static int image_read(char* buf, bool first)
{
    int ret;

    if (k_event_wait(&image_udate_event, 1, false, K_MSEC(IMAGE_READ_TIMEOUT_MS)) == 0) {
        strcpy(buf, "NRDY\n");
        ret = 5;
        goto exit;
    }

    if (first) {
        image_ctx.rd_busy = true;
        image_ctx.rd_cnt = 0;
    }

    if (image_ctx.rd_busy == false) {
        strcpy(buf, "BSEQ\n");
        ret = 5;
        goto exit;
    }

    if (image_ctx.wr_cnt <= image_ctx.rd_cnt) {
        strcpy(buf, "RERR\n");
        ret = 5;
        goto exit;
    }

    unsigned rest_size = image_ctx.wr_cnt - image_ctx.rd_cnt;
    unsigned copy_size;

    if (rest_size > IMAGE_READ_CHUNK_SIZE) {
        sprintf(buf, "#%03d", IMAGE_READ_CHUNK_SIZE);
        copy_size = IMAGE_READ_CHUNK_SIZE;
    }
    else {
        sprintf(buf, "!%03d", rest_size);
        copy_size = rest_size;
    }
    memcpy(buf + IMAGE_READ_HEADER_LEN, image_ctx.data + image_ctx.rd_cnt, copy_size);
    image_ctx.rd_cnt += copy_size;

    if (image_ctx.rd_cnt >= image_ctx.wr_cnt) {
        image_ctx.rd_busy = false;
        k_event_clear(&image_udate_event, 1);
    }

    ret = IMAGE_READ_HEADER_LEN + copy_size;

    LOG_INF("image_read %d-%d", image_ctx.wr_cnt, image_ctx.rd_cnt);

exit:

    return ret;
}

int image_read_first(char* buf)
{
    int ret = image_read(buf, true);
    return ret;
}

int image_read_next(char* buf)
{
    int ret = image_read(buf, false);
    return ret;
}

bool image_take_one()
{
    static unsigned req_num;
    LOG_WRN("image_take_one #%d", ++req_num);

    k_event_clear(&image_udate_event, 1);

    if (image_control_proc) {
        image_control_proc(true);
    }

    k_sleep(K_MSEC(100));

    return true;
}

bool image_update(char* buf, uint16_t prm)
{
    bool ret = true;
    static unsigned prev_idx;
    static unsigned idx_mask;

    unsigned last = SPI_JPG_LAST(prm);
    unsigned index = SPI_JPG_INDX(prm);
    unsigned size = SPI_JPG_SIZE(prm);

    if (k_event_test(&image_udate_event, 1)) {
        return true;
    }

    LOG_WRN("image_update %d,%d,%d", index, size, last);

    if (index == 0) {
        image_ctx.wr_cnt = 0;
        idx_mask = 1;
    }
    else {
        if (index != prev_idx + 1) {
            idx_mask = 0;
            ret = false;
            goto exit;
        }
        else {
            idx_mask |= (1 << index);
        }
    }
    prev_idx = index;

    if (image_ctx.wr_cnt + size > IMAGE_MAX_SIZE) {
        idx_mask = 0;
        ret = false;
        goto exit;
    }

    memcpy(image_ctx.data + image_ctx.wr_cnt, buf, size);
    image_ctx.wr_cnt += size;

    if (last) {
        if (idx_mask == ((1 << (index + 1)) - 1)) {
            k_event_set(&image_udate_event, 1);
            //if (image_control_proc) {
            //    image_control_proc(false);
            //}
        }
        else {
            ret = false;
        }
        idx_mask = 0;
    }

exit:

    return ret;
}

void image_reader_init(image_control_proc_t proc)
{
    image_control_proc = proc;
    k_event_init(&image_udate_event);
}
```

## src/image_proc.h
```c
/*
 * Copyright (c) 2025 Grovety Inc
 *
 * SPDX-License-Identifier: Apache-2.0
 */

#ifndef IMAGE_PROC_H
#define IMAGE_PROC_H

#include <stdbool.h>
#include <stdint.h>

#include "himax_comdef.h"

#ifdef __cplusplus
extern "C" {
#endif

#define IMAGE_MAX_SIZE MAX_JPG_SIZE

#define IMAGE_READ_HEADER_LEN 4 // "#240" or "!240"
#define IMAGE_READ_CHUNK_SIZE 240
#define IMAGE_READ_CHUNK_NUMB (IMAGE_SIZE/IMAGE_READ_CHUNK_SIZE)

#define IMAGE_WRITE_CHUNK_SIZE SPI_PAYLOAD_LEN
#define IMAGE_WRITE_CHUNK_NUMB (IMAGE_SIZE/SPI_PAYLOAD_LEN)

#define IMAGE_READ_TIMEOUT_MS 2000

int image_read_first(char* buf);

int image_read_next(char* buf);

bool image_take_one();

bool image_update(char*buf, uint16_t prm);

typedef void (*image_control_proc_t)(bool start);

void image_reader_init(image_control_proc_t proc);

#ifdef __cplusplus
}
#endif

#endif // IMAGE_PROC_H
```

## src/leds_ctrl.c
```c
/*
 * Copyright (c) 2025 Grovety Inc
 *
 * SPDX-License-Identifier: Apache-2.0
 */

#include <zephyr/types.h>
#include <zephyr/kernel.h>
#include <zephyr/logging/log.h>
#include <zephyr/drivers/gpio.h>
#include <zephyr/drivers/led_strip.h>
#include <zephyr/device.h>
#include <zephyr/devicetree.h>

#include "leds_ctrl.h"

LOG_MODULE_REGISTER(leds_ctrl);

#ifdef LED_TEST
static void led_test();
#endif

#define LEDS_CONTROL DT_PATH(zephyr_user)
const struct gpio_dt_spec led_enable = GPIO_DT_SPEC_GET(LEDS_CONTROL, led_enbl_gpios);

#define STRIP_NODE DT_CHOSEN(led_strip)
#define STRIP_NUM_PIXELS DT_PROP(STRIP_NODE, chain_length)
static const struct device *const strip = DEVICE_DT_GET(STRIP_NODE);
static struct led_rgb led_color;

static void leds_update_thread_proc();
static K_THREAD_DEFINE(leds_update_thread, 512, leds_update_thread_proc, 0, 0, 0, 10, 0, -1);
static K_EVENT_DEFINE(leds_update_event);

int leds_init()
{
    if (!device_is_ready(strip)) {
        LOG_ERR("LED strip device %s is not ready", strip->name);
        return -1;
    }
    gpio_pin_configure_dt(&led_enable, GPIO_OUTPUT_HIGH);
    led_strip_update_rgb(strip, &led_color, STRIP_NUM_PIXELS);
    k_thread_start(leds_update_thread);
#ifdef LED_TEST
    led_test();
#endif // LED_TEST
    return 0;
}

void leds_power_on()
{
    gpio_pin_set_dt(&led_enable, 1);
}

void leds_power_off()
{
    gpio_pin_set_dt(&led_enable, 0);
}

static void leds_update_thread_proc()
{
    while (1) {
        uint32_t events = k_event_wait(&leds_update_event, 7, false, K_FOREVER);
        led_strip_update_rgb(strip, &led_color, STRIP_NUM_PIXELS);
        k_event_clear(&leds_update_event, events);
    }
}

void led_red_ctrl(uint8_t level)
{
    led_color.r = level;
    k_event_post(&leds_update_event, LEDR_UPDATE_EVENT);
}

void led_green_ctrl(uint8_t level)
{
    led_color.g = level;
    k_event_post(&leds_update_event, LEDG_UPDATE_EVENT);
}

void led_blue_ctrl(uint8_t level)
{
    led_color.b = level;
    k_event_post(&leds_update_event, LEDB_UPDATE_EVENT);
}

#ifdef LED_TEST

static void led_test()
{
    led_ctrl_proc_t led_proc[3] = {led_red_ctrl, led_green_ctrl, led_blue_ctrl};
    int i,j,k;
    k_sleep(K_MSEC(100));
    while(1) {
        for (i=0; i<3; i++) {       // turn on-turn off
            for (j=0; j<3; j++) {
                for (k=0; k<3; k++) {
                    led_proc[i](k ? LED_OFF : LED_ON);
                    k_sleep(K_MSEC(750));
                }
            }
        }
        for (i=0; i<3; i++) {       // turn on all
            led_proc[i](LED_ON);
        }
        k_sleep(K_MSEC(1500));
        for (i=0; i<3; i++) {       // turn off all
            led_proc[i](LED_OFF);
        }
        for (i=0; i<3; i++) {       // change brightness smoothly
            for (j=0; j<10; j++) {
                for (k=0; k<LED_MAX; k++) {
                    led_proc[i](k);
                    k_sleep(K_MSEC(5));
                }
                for (; k>=0; k--) {
                    led_proc[i](k);
                    k_sleep(K_MSEC(5));
                }
            }
        }
    }
}

#endif // LED_TEST
```

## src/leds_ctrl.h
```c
/*
 * Copyright (c) 2025 Grovety Inc
 *
 * SPDX-License-Identifier: Apache-2.0
 */

#ifndef LEDS_CTRL_H
#define LEDS_CTRL_H

#include <stdint.h>

// #define LED_TEST

#define LED_MIN 0
#define LED_MAX 255
#define LED_ON 64
#define LED_OFF 0

typedef enum {
    LEDR_UPDATE_EVENT = 1,
    LEDG_UPDATE_EVENT = 2,
    LEDB_UPDATE_EVENT = 4
} led_color_t;

typedef void (*led_ctrl_proc_t)(uint8_t);

int leds_init();

void leds_power_on();

void leds_power_off();

void led_red_ctrl(uint8_t level);

void led_green_ctrl(uint8_t level);

void led_blue_ctrl(uint8_t level);

#endif // LEDS_CTRL_H
```
